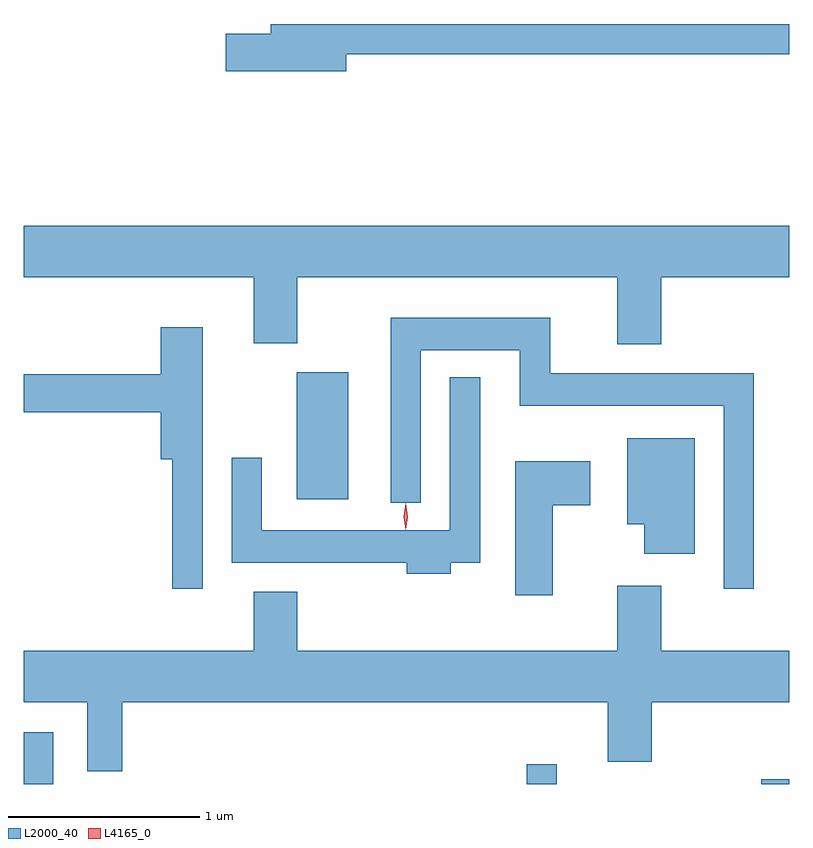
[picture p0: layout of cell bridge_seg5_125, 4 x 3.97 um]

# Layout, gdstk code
import gdstk
lib = gdstk.Library(unit=1e-6, precision=1e-09)
def R(c, l, rs):  # rectangles x0, y0, x1, y1
    for r in rs: c.add(gdstk.rectangle(r[:2], r[2:], *l))
def P(c, l, *ps):  # polygons
    for p in ps: c.add(gdstk.Polygon(p, *l))
L2000_40 = (2000, 40)
L4165_0 = (4165, 0)

bridge_seg5_125 = lib.new_cell('bridge_seg5_125')
R(bridge_seg5_125, L2000_40, [(1167.699,1414.189,1167.854,1414.459), (1170.326,1414.189,1170.484,1414.293), (1171.551,1414.189,1171.699,1414.214), (1169.126,1415.676,1169.394,1416.339)])
P(bridge_seg5_125, L2000_40, [(1169.384,1418.001),(1171.699,1418.001),(1171.699,1418.159),(1168.991,1418.159),(1168.991,1418.109),(1168.756,1418.109),(1168.756,1417.911),(1169.384,1417.911)],
  [(1171.029,1416.836),(1171.699,1416.836),(1171.699,1417.104),(1167.699,1417.104),(1167.699,1416.836),(1168.901,1416.836),(1168.901,1416.491),(1169.129,1416.491),(1169.129,1416.836),(1170.801,1416.836),(1170.801,1416.486),(1171.029,1416.486)],
  [(1171.514,1416.334),(1170.449,1416.334),(1170.449,1416.624),(1169.616,1416.624),(1169.616,1415.658),(1169.774,1415.658),(1169.774,1416.456),(1170.291,1416.456),(1170.291,1416.166),(1171.356,1416.166),(1171.356,1415.208),(1171.514,1415.208)],
  [(1168.634,1416.574),(1168.416,1416.574),(1168.416,1416.329),(1167.699,1416.329),(1167.699,1416.131),(1168.416,1416.131),(1168.416,1415.886),(1168.476,1415.886),(1168.476,1415.208),(1168.634,1415.208)],
  [(1169.929,1415.346),(1170.084,1415.346),(1170.084,1416.313),(1169.926,1416.313),(1169.926,1415.514),(1168.944,1415.514),(1168.944,1415.893),(1168.786,1415.893),(1168.786,1415.346),(1169.701,1415.346),(1169.701,1415.286),(1169.929,1415.286)],
  [(1171.204,1415.994),(1170.851,1415.994),(1170.851,1415.546),(1170.941,1415.546),(1170.941,1415.391),(1171.204,1415.391)],
  [(1170.464,1415.646),(1170.659,1415.646),(1170.659,1415.874),(1170.266,1415.874),(1170.266,1415.176),(1170.464,1415.176)],
  [(1170.801,1414.884),(1169.129,1414.884),(1169.129,1415.194),(1168.901,1415.194),(1168.901,1414.884),(1167.699,1414.884),(1167.699,1414.616),(1168.031,1414.616),(1168.031,1414.256),(1168.214,1414.256),(1168.214,1414.616),(1170.751,1414.616),(1170.751,1414.306),(1170.979,1414.306),(1170.979,1414.616),(1171.699,1414.616),(1171.699,1414.884),(1171.029,1414.884),(1171.029,1415.224),(1170.801,1415.224)])
P(bridge_seg5_125, L4165_0, [(1169.694,1415.517),(1169.685,1415.586),(1169.694,1415.656),(1169.695,1415.656),(1169.696,1415.656),(1169.705,1415.586),(1169.696,1415.517),(1169.695,1415.517)],
  [(1169.694,1415.519),(1169.694,1415.52),(1169.684,1415.586),(1169.694,1415.652),(1169.694,1415.653),(1169.694,1415.652),(1169.704,1415.586),(1169.694,1415.52)])

lib.write_gds('bridge_seg5_125.gds')
